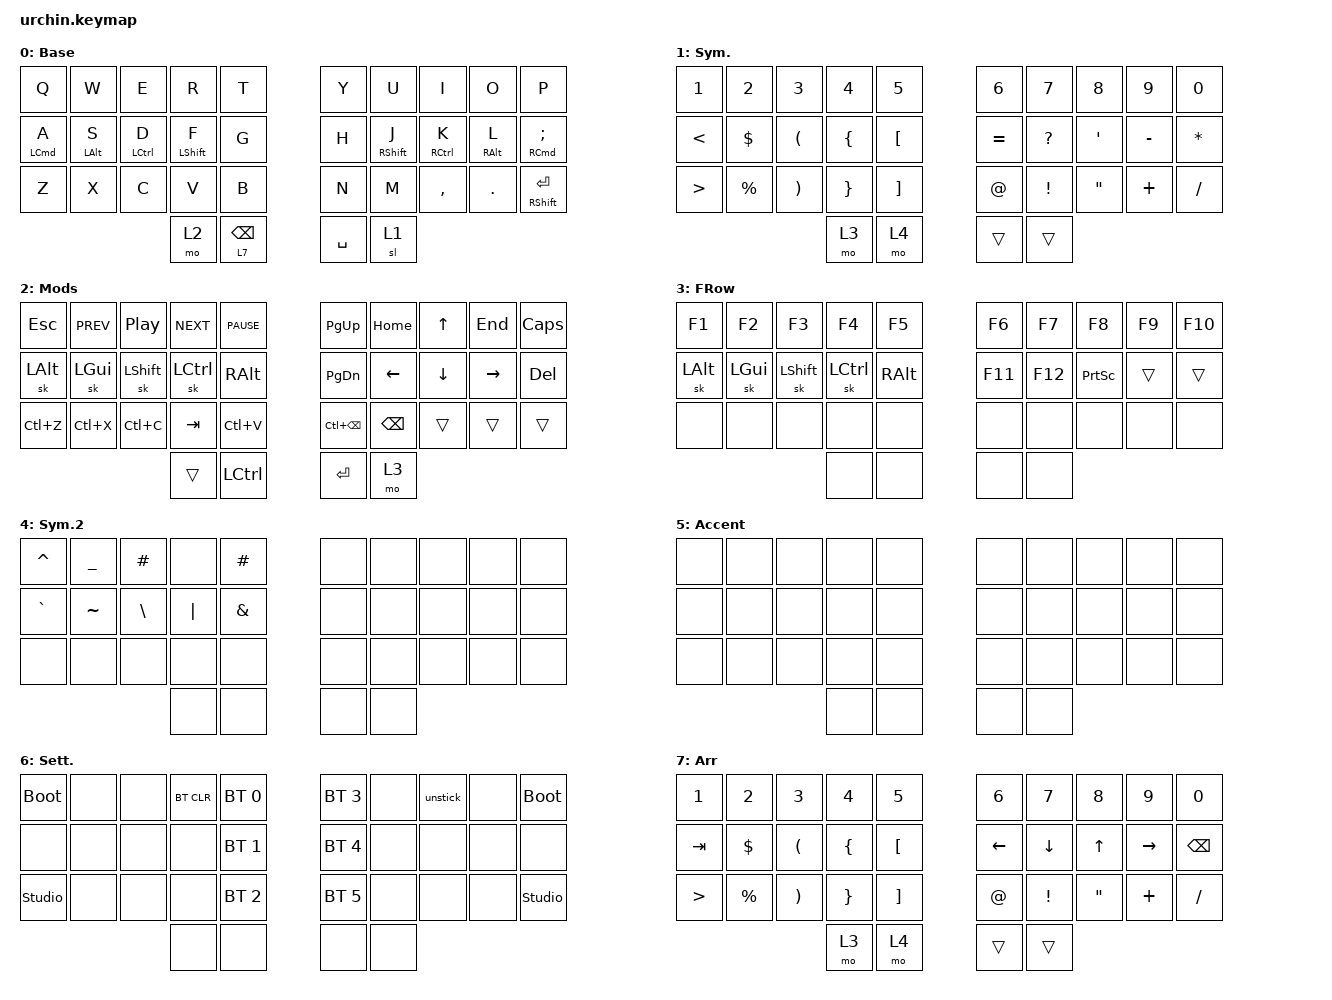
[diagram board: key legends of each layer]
/*
 * Copyright (c) 2020 duckyb
 *
 * SPDX-License-Identifier: MIT
 */

#include <behaviors.dtsi>
#include <dt-bindings/zmk/bt.h>
#include <dt-bindings/zmk/keys.h>

// Layer definitions

#define BASE 0
#define SYM 1
#define EXT 2
#define FNC 3
#define SYM2 4
#define ACCENT 5
#define SETTINGS 6

// -----------------

&sk {
    // don't release mods on other mods presses

    ignore-modifiers;
};

/ {
    behaviors {
        // Enables holding the first mod-tap key
        // by performing a tap-release-hold sequence.
        // To use it: "&qt KEYCODE1 KEYCODE2"

        qt: quick_tap {
            compatible = "zmk,behavior-hold-tap";
            label = "QUICK_TAP";
            #binding-cells = <2>;
            flavor = "hold-preferred";
            tapping-term-ms = <200>;
            quick-tap-ms = <200>;
            bindings = <&kp>, <&kp>;
        };

        hm: home_row_mod {
            compatible = "zmk,behavior-hold-tap";
            label = "HOME_ROW_MOD";
            bindings = <&kp>, <&kp>;

            #binding-cells = <2>;
            tapping-term-ms = <250>;
            quick-tap-ms = <175>;
            require-prior-idle-ms = <125>;
            flavor = "balanced";
        };
    };

    macros {
        // sometimes my device thinks a modifier is being held down
        // pressing all modifiers fixes it.

        unstick: unstick {
            label = "ZM_unstick";
            compatible = "zmk,behavior-macro";
            #binding-cells = <0>;
            bindings = <&kp LSHIFT &kp RSHIFT &kp LCTRL &kp RCTRL &kp LALT &kp RALT &kp LGUI &kp RGUI>;
        };
    };

    combos {
        compatible = "zmk,combos";

        // both right thumb keys

        combo_accent {
            timeout-ms = <200>;
            key-positions = <32 33>;
            bindings = <&mo 5>;
        };

        // internal-left & external-right thumb keys

        combo_sym2 {
            timeout-ms = <200>;
            key-positions = <31 33>;
            bindings = <&mo 4>;
        };

        // both left thumb keys

        combo_settings {
            timeout-ms = <200>;
            key-positions = <30 31>;
            bindings = <&mo 6>;
        };

        // left index & middle fingers (home-row)
        // hold control & space for Adobe workflow

        combo_ctrl_space {
            timeout-ms = <200>;
            key-positions = <12 13>;
            bindings = <&kp LC(SPACE)>;
            layers = <0>;
        };
    };

    keymap {
        compatible = "zmk,keymap";

        // Base alpha layer

        default_layer {
            label = "Base";
            bindings = <
&kp Q               &kp W       &kp E               &kp R             &kp T            &kp Y      &kp U              &kp I                &kp O       &kp P
&hm LEFT_COMMAND A  &hm LALT S  &hm LEFT_CONTROL D  &hm LEFT_SHIFT F  &kp G            &kp H      &hm RIGHT_SHIFT J  &hm RIGHT_CONTROL K  &hm RALT L  &hm RIGHT_COMMAND SEMICOLON
&kp Z               &kp X       &kp C               &kp V             &kp B            &kp N      &kp M              &kp COMMA            &kp DOT     &qt RIGHT_SHIFT ENTER
                                                    &mo 2             &lt 7 BACKSPACE  &kp SPACE  &sl 1
            >;
        };

        // Numbers and high frequency symbols

        sym_layer {
            label = "Sym.";
            bindings = <
&kp N1            &kp N2       &kp N3                 &kp N4           &kp N5             &kp N6       &kp N7           &kp N8             &kp N9     &kp N0
&kp LESS_THAN     &kp DOLLAR   &kp LEFT_PARENTHESIS   &kp LEFT_BRACE   &kp LEFT_BRACKET   &kp EQUAL    &kp QUESTION     &kp SINGLE_QUOTE   &kp MINUS  &kp ASTERISK
&kp GREATER_THAN  &kp PERCENT  &kp RIGHT_PARENTHESIS  &kp RIGHT_BRACE  &kp RIGHT_BRACKET  &kp AT_SIGN  &kp EXCLAMATION  &kp DOUBLE_QUOTES  &kp PLUS   &kp SLASH
                                                      &mo 3            &mo 4              &trans       &trans
            >;
        };

        // Main modifiers and arrow keys

        ext_layer {
            label = "Mods";
            bindings = <
&kp ESC    &kp C_PREV  &kp C_PP    &kp C_NEXT  &kp C_PAUSE  &kp PG_UP     &kp HOME  &kp UP    &kp END    &kp CAPS
&sk LALT   &sk LGUI    &sk LSHIFT  &sk LCTRL   &kp RALT     &kp PG_DN     &kp LEFT  &kp DOWN  &kp RIGHT  &kp DEL
&kp LC(Z)  &kp LC(X)   &kp LC(C)   &kp TAB     &kp LC(V)    &kp LC(BSPC)  &kp BSPC  &trans    &trans     &trans
                                   &trans      &kp LCTRL    &kp ENTER     &mo 3
            >;
        };

        // Function keys with modifiers

        fnc_layer {
            label = "FRow";
            bindings = <
&kp F1    &kp F2    &kp F3      &kp F4     &kp F5    &kp F6   &kp F7   &kp F8           &kp F9  &kp F10
&sk LALT  &sk LGUI  &sk LSHIFT  &sk LCTRL  &kp RALT  &kp F11  &kp F12  &kp PRINTSCREEN  &trans  &trans
&none     &none     &none       &none      &none     &none    &none    &none            &none   &none
                                &none      &none     &none    &none
            >;
        };

        // Low frequency symbols.

        symbols_2_layer {
            label = "Sym.2";
            bindings = <
&kp CARET  &kp UNDERSCORE  &kp HASH       &none     &kp HASH       &none  &none  &none  &none  &none
&kp GRAVE  &kp TILDE       &kp BACKSLASH  &kp PIPE  &kp AMPERSAND  &none  &none  &none  &none  &none
&none      &none           &none          &none     &none          &none  &none  &none  &none  &none
                                          &none     &none          &none  &none
            >;
        };

        // Used to type regional accents.

        accent_layer {
            label = "Accent";
            bindings = <
&none  &none  &none  &none  &none  &none  &none  &none  &none  &none
&none  &none  &none  &none  &none  &none  &none  &none  &none  &none
&none  &none  &none  &none  &none  &none  &none  &none  &none  &none
                     &none  &none  &none  &none
            >;
        };

        // Used to change the keyboard's settings.

        settings_layer {
            label = "Sett.";
            bindings = <
&bootloader     &none  &none  &bt BT_CLR  &bt BT_SEL 0  &bt BT_SEL 3  &none  &unstick  &none  &bootloader
&none           &none  &none  &none       &bt BT_SEL 1  &bt BT_SEL 4  &none  &none     &none  &none
&studio_unlock  &none  &none  &none       &bt BT_SEL 2  &bt BT_SEL 5  &none  &none     &none  &studio_unlock
                              &none       &none         &none         &none
            >;
        };

        NumArrow {
            label = "Arr";
            bindings = <
&kp N1            &kp N2       &kp N3                 &kp N4           &kp N5             &kp N6       &kp N7           &kp N8             &kp N9     &kp N0
&kp TAB           &kp DOLLAR   &kp LEFT_PARENTHESIS   &kp LEFT_BRACE   &kp LEFT_BRACKET   &kp LEFT     &kp DOWN         &kp UP             &kp RIGHT  &kp BSPC
&kp GREATER_THAN  &kp PERCENT  &kp RIGHT_PARENTHESIS  &kp RIGHT_BRACE  &kp RIGHT_BRACKET  &kp AT_SIGN  &kp EXCLAMATION  &kp DOUBLE_QUOTES  &kp PLUS   &kp SLASH
                                                      &mo 3            &mo 4              &trans       &trans
            >;
        };
    };
};
